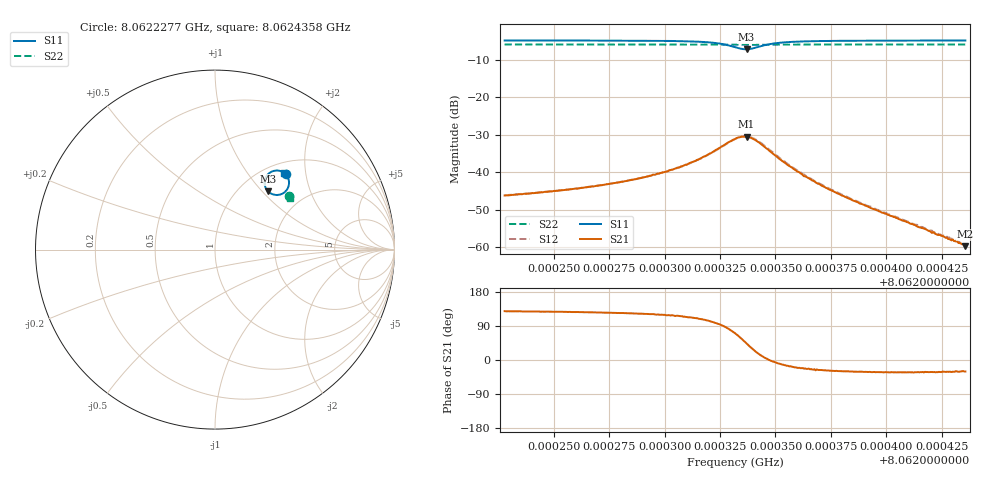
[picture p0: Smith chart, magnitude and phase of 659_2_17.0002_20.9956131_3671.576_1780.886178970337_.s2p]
#  HZ  S  RI  R  50.00
! Rohde & Schwarz Vector Network Analyzer
! Rohde-Schwarz,ZNB20-2Port,1311601062101988,3.16
! Created: UTC 3/20/2024, 11:21:41 PM
! freq[Hz]  re:S11  im:S11  re:S21  im:S21  re:S12  im:S12  re:S22  im:S22
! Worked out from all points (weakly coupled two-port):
!   401 points, 8.0622277 GHz to 8.0624358 GHz, reference 50 ohm
!   highest |S21| = -30.48 dB at 8.0623369 GHz (marker M1); lowest = -59.8 dB at 8.0624358 GHz (marker M2)
!   lowest |S11| = -7.2 dB at 8.0623369 GHz (marker M3), VSWR 2.56, Z = 67.3 + j54 ohm
!   |S11| at or under -10 dB: nowhere
!   |S22| runs from -6.0 to -5.9 dB; largest |S21 - S12| = 0.0011
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8.06222768e9  0.3935 0.4203  -0.00307 0.0038  -0.00287 0.00403  0.4117 0.2989
8.06224744e9  0.3964 0.4169  -0.00336 0.00436  -0.00309 0.00458  0.4123 0.2978
8.06226253e9  0.3989 0.4136  -0.00365 0.00499  -0.00336 0.00519  0.413 0.2969
8.06228178e9  0.4033 0.4069  -0.0042 0.0063  -0.00383 0.00654  0.4135 0.2956
8.06229738e9  0.408 0.3971  -0.00472 0.00829  -0.0043 0.0086  0.4143 0.2943
8.06230727e9  0.4113 0.3859  -0.00519 0.0107  -0.00442 0.011  0.4146 0.2935
8.06231507e9  0.4126 0.3706  -0.00484 0.0139  -0.00415 0.0142  0.4148 0.2925
8.06232495e9  0.401 0.3342  -0.00141 0.0212  -0.000489 0.0209  0.4141 0.2904
8.06233172e9  0.3557 0.3052  0.00916 0.0262  0.00978 0.0258  0.4121 0.2895
8.06233432e9  0.3253 0.3069  0.0158 0.025  0.0162 0.0248  0.4109 0.2896
8.06233692e9  0.2963 0.3239  0.0216 0.0207  0.022 0.0205  0.4099 0.2905
8.062339e9  0.2812 0.3462  0.0243 0.0155  0.0249 0.0153  0.4097 0.2918
8.06234108e9  0.276 0.3706  0.0247 0.00991  0.0255 0.00982  0.4096 0.2928
8.06234836e9  0.3002 0.4245  0.0181 -0.000946  0.0188 -0.00175  0.4116 0.2946
8.06235772e9  0.3334 0.4397  0.0108 -0.00354  0.0109 -0.00411  0.4136 0.2944
8.06236657e9  0.3507 0.4403  0.00703 -0.00327  0.00709 -0.0037  0.4147 0.2937
8.06237333e9  0.359 0.439  0.00539 -0.00282  0.00538 -0.00324  0.4153 0.2931
8.06238269e9  0.3668 0.437  0.0039 -0.00223  0.00389 -0.00253  0.4159 0.2924
8.06240142e9  0.3758 0.433  0.00224 -0.00144  0.00221 -0.00161  0.4167 0.2914
8.06242275e9  0.3818 0.4297  0.00125 -0.000779  0.00129 -0.000933  0.4179 0.2902
8.06243107e9  0.3836 0.4286  0.00103 -0.000606  0.00101 -0.000696  0.4181 0.2897
8.06243576e9  0.3843 0.4279  0.000885 -0.000521  0.000893 -0.000635  0.4182 0.2892
